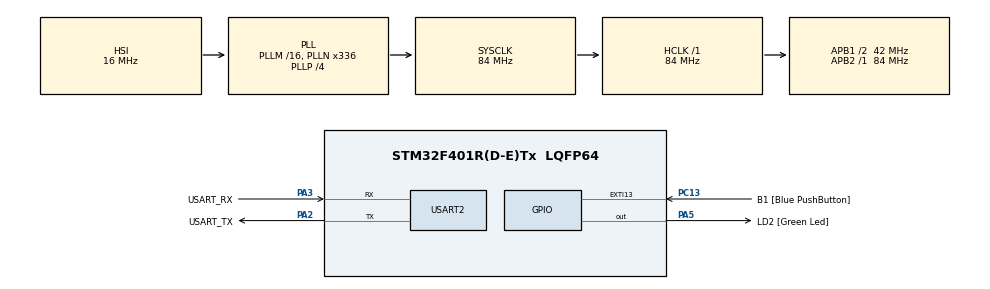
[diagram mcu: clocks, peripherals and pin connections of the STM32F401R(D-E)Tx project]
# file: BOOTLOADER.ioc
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Mcu.Family=STM32F4
Mcu.Name=STM32F401R(D-E)Tx
Mcu.Package=LQFP64
NVIC.EXTI15_10_IRQn=true\:0\:0\:false\:false\:true\:true\:true
NVIC.PriorityGroup=NVIC_PRIORITYGROUP_0
PA13.GPIO_Label=TMS
PA13.Mode=Serial_Wire
PA13.Signal=SYS_JTMS-SWDIO
PA14.GPIO_Label=TCK
PA14.Mode=Serial_Wire
PA14.Signal=SYS_JTCK-SWCLK
PA2.GPIO_Label=USART_TX
PA2.GPIO_Mode=GPIO_MODE_AF_PP
PA2.GPIO_PuPd=GPIO_NOPULL
PA2.GPIO_Speed=GPIO_SPEED_FREQ_LOW
PA2.Mode=Asynchronous
PA2.Signal=USART2_TX
PA3.GPIO_Label=USART_RX
PA3.GPIO_Mode=GPIO_MODE_AF_PP
PA3.GPIO_PuPd=GPIO_NOPULL
PA3.GPIO_Speed=GPIO_SPEED_FREQ_LOW
PA3.Mode=Asynchronous
PA3.Signal=USART2_RX
PA5.GPIO_Label=LD2 [Green Led]
PA5.GPIO_Mode=GPIO_MODE_OUTPUT_PP
PA5.GPIO_PuPd=GPIO_NOPULL
PA5.GPIO_Speed=GPIO_SPEED_FREQ_LOW
PA5.Signal=GPIO_Output
PB3.GPIO_Label=SWO
PB3.Signal=SYS_JTDO-SWO
PC13-ANTI_TAMP.GPIO_Label=B1 [Blue PushButton]
PC13-ANTI_TAMP.GPIO_ModeDefaultEXTI=GPIO_MODE_IT_FALLING
PC13-ANTI_TAMP.GPIO_PuPd=GPIO_PULLUP
PC13-ANTI_TAMP.Signal=GPXTI13
PC14-OSC32_IN.Mode=LSE-External-Oscillator
PC14-OSC32_IN.Signal=RCC_OSC32_IN
PC15-OSC32_OUT.Mode=LSE-External-Oscillator
PC15-OSC32_OUT.Signal=RCC_OSC32_OUT
PH0\ -\ OSC_IN.Mode=HSE-External-Clock-Source
PH0\ -\ OSC_IN.Signal=RCC_OSC_IN
PH1\ -\ OSC_OUT.Mode=HSE-External-Clock-Source
PH1\ -\ OSC_OUT.Signal=RCC_OSC_OUT
ProjectManager.HeapSize=0x200
ProjectManager.StackSize=0x400
ProjectManager.TargetToolchain=STM32CubeIDE
RCC.48MHZClocksFreq_Value=48000000
RCC.AHBFreq_Value=84000000
RCC.APB1CLKDivider=RCC_HCLK_DIV2
RCC.APB1Freq_Value=42000000
RCC.APB1TimFreq_Value=84000000
RCC.APB2Freq_Value=84000000
RCC.APB2TimFreq_Value=84000000
RCC.CortexFreq_Value=84000000
RCC.HCLKFreq_Value=84000000
RCC.HSE_VALUE=8000000
RCC.HSI_VALUE=16000000
RCC.PLLN=336
RCC.PLLP=RCC_PLLP_DIV4
RCC.PLLQ=7
RCC.SYSCLKFreq_VALUE=84000000
RCC.SYSCLKSource=RCC_SYSCLKSOURCE_PLLCLK
RCC.VCOOutputFreq_Value=336000000
USART2.VirtualMode=VM_ASYNC
board=NUCLEO-F401RE

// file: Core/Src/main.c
/* USER CODE BEGIN Header */
/**
  ******************************************************************************
  * @file           : main.c
  * @brief          : Main program body
  ******************************************************************************
  * @attention
  *
  * <h2><center>&copy; Copyright (c) 2021 STMicroelectronics.
  * All rights reserved.</center></h2>
  *
  * This software component is licensed by ST under BSD 3-Clause license,
  * the "License"; You may not use this file except in compliance with the
  * License. You may obtain a copy of the License at:
  *                        opensource.org/licenses/BSD-3-Clause
  *
  ******************************************************************************
  */
/* USER CODE END Header */
#include "main.h"

UART_HandleTypeDef huart2;

/* USER CODE BEGIN PV */

/*Прошивка, которую поместим на адрес: 0x0800C000
 * Данная прошивка представляет собой обычный светодиодный blink с периодом 250мс
 *
 */

const char data[][BUFFER_SIZE] = {":020000040800F2",
":10C00000008001203DC7000815C7000817C70008B9",
":10C0100019C700081BC700081DC700080000000062",
":10C020000000000000000000000000001FC7000822",
":10C0300021C700080000000023C7000825C700082A",
":10C040008DC700088DC700088DC700088DC7000880",
":10C050008DC700088DC700088DC700088DC7000870",
":10C060008DC700088DC700088DC700088DC7000860",
":10C070008DC700088DC700088DC700088DC7000850",
":10C080008DC700088DC700088DC70008000000009C",
":10C090000000000000000000000000008DC7000844",
":10C0A0008DC700088DC700088DC700088DC7000820",
":10C0B0008DC700088DC700088DC700088DC7000810",
":10C0C0008DC700088DC700088DC700088DC7000800",
":10C0D0008DC700088DC700088DC70008000000004C",
":10C0E0008DC700088DC700088DC70008000000003C",
":10C0F0000000000000000000000000008DC70008E4",
":10C10000000000008DC700088DC700088DC700081B",
":10C11000000000000000000000000000000000001F",
":10C120008DC700088DC700088DC700088DC700089F",
":10C130008DC70008000000000000000000000000A3",
":10C140000000000000000000000000008DC7000893",
":10C150008DC700088DC700088DC700088DC700086F",
":10C160008DC700088DC70008000000000000000017",
":10C1700000000000000000000000000000000000BF",
":10C18000000000008DC70008000000000000000053",
":04C190008DC700084F",
":10C1940010B5054C237833B9044B13B10448AFF3FD",
":10C1A40000800123237010BD0C000020000000005B",
":10C1B40054D1000808B5034B1BB103490348AFF33E",
":10C1C400008008BD000000001000002054D10008C9",
":10C1D40053B94AB9002908BF00281CBF4FF0FF31EA",
":10C1E4004FF0FF3000F06EB9ADF1080C6DE904CEEC",
":10C1F40000F006F8DDF804E0DDE9022304B070473E",
":10C204002DE9F047089D04468C46002B40F08380BE",
":10C214008A42174647D9B2FA82F242B1C2F12000EB",
":10C2240024FA00F09140974040EA010C94404FEA10",
":10C234001748230CBCFBF8F61FFA87FE08FB16C14F",
":10C2440043EA014306FB0EF1994209D9FB1806F1B2",
":10C25400FF3080F01981994240F21681023E3B443E",
":10C264005B1AA4B2B3FBF8F008FB103344EA0344AE",
":10C2740000FB0EFEA64509D93C1900F1FF3380F0FE",
":10C284000581A64540F2028102383C4440EA06405A",
":10C29400A4EB0E0400261DB1D4400023C5E90043DD",
":10C2A4003146BDE8F08702B9FFDEB2FA82F2002A15",
":10C2B40050D1CB1B4FEA174E1FFA87F80126B3FB68",
":10C2C400FEFC210C0EFB1C3341EA034108FB0CF37A",
":10C2D4008B4207D979180CF1FF3002D28B4200F25D",
":10C2E400E9808446C91AA3B2B1FBFEF00EFB10111B",
":10C2F40043EA014408FB00F8A04507D93C1900F1C2",
":10C30400FF3302D2A04500F2D9801846A4EB0804FA",
":10C3140040EA0C40BFE78B4209D9002D00F0B18000",
":10C324000026C5E9000130463146BDE8F087B3FA7E",
":10C3340083F6002E4AD18B4202D3824200F2B880A7",
":10C34400841A61EB030101208C46002DA8D0C5E9B5",
":10C35400004CA5E7C2F1200320FA03F6974001FA46",
":10C3640002F04FEA174ED9403043030CB1FBFEF6FE",
":10C374001FFA87F80EFB161143EA014306FB08F186",
":10C38400994204FA02F409D9FB1806F1FF3C80F043",
":10C394008D80994240F28A80023E3B445B1A81B20E",
":10C3A400B3FBFEF00EFB103341EA034100FB08F33C",
":10C3B4008B4207D9791800F1FF3C73D28B4271D9B3",
":10C3C40002383944CB1A40EA064678E7C6F1200C15",
":10C3D40003FA06F422FA0CF31C4320FA0CF701FAD0",
":10C3E40006F34FEA144E21FA0CF11F433B0CB1FB48",
":10C3F400FEF91FFA84F80EFB191143EA014109FB07",
":10C4040008FA8A4502FA06F200FA06F308D9611816",
":10C4140009F1FF3048D28A4546D9A9F102092144DD",
":10C42400A1EB0A01BFB2B1FBFEF00EFB101147EA0B",
":10C43400014700FB08F8B84507D9E71900F1FF31B7",
":10C444002ED2B8452CD90238274440EA0940A7EB3C",
":10C454000807A0FB02894F45C64649461AD317D0A0",
":10C464005DB1B3EB0E0267EB010707FA0CFCF24077",
":10C474004CEA0202F740C5E9002700263146BDE830",
":10C48400F0872E4628460BE70646E9E61846FDE601",
":10C494004345E5D2B8EB020E69EB04010138DFE74E",
":10C4A4000846D2E760468DE78146B9E7664675E7F8",
":10C4B40030464AE7ACF1020C394413E702383C44F5",
":10C4C40024E700BF704700BF10B594B014220021C8",
":10C4D40009A800F035FE1422002103A800F030FE64",
":10C4E4001F4B00220192196C41F0805119641B6C9E",
":10C4F4001C4903F080530193019B02920B6823F4BF",
":10C50400404343F400430B600B6803F4404302933D",
":10C51400029B012110234FF4A870CDE90B13109353",
":10C524000423CDE911030224072308A8CDE90E4210",
":10C534000894139300F0BEFA08B172B6FEE70F2315",
":10C54400CDE903344FF48053CDE9063005902146FC",
":10C5540003A800F089FC08B172B6FEE714B010BD60",
":10C56400003802400070004000B58BB072B6374B03",
":10C57400374A9A6062B600F02DF9FFF7A5FF14223E",
":10C5840000210DEB020000F0DBFD0024314B01948F",
":10C594001A6B314842F004021A631A6B02F0040267",
":10C5A4000192019A02941A6B42F080021A631A6B88",
":10C5B40002F080020292029A03941A6B42F0010282",
":10C5C4001A631A6B02F001020392039A04941A6B21",
":10C5D40042F002021A631B6B03F002030493224627",
":10C5E4002021049B00F058FA4FF400524FF4041336",
":10C5F4001A48079405A9CDE9052300F085F901231C",
":10C604002021CDE90513144805A9CDE9074400F01C",
":10C614007BF91348DFF84CC004614FF4E133C0E9FF",
":10C6240000C30C23C0E90244C0E90534C46100F02E",
":10C6340035FD40B9084C2046202100F032FAC820CC",
":10C6440000F0F4F8F7E772B6FEE700BF00ED00E093",
":10C6540000C0000800380240000002400008024008",
":10C66400280000200044004082B00D4B00210091BE",
":10C674005A6C42F480425A645A6C02F4804200922A",
":10C68400009A01911A6C42F080521A641B6C03F0F8",
":10C6940080530193019B072002B000F0DBB800BF78",
":10C6A4000038024010B5044688B01422002103A8C3",
":10C6B40000F046FD2268144B9A4222D103F5FA3366",
":10C6C40000220192196C114841F400311964196C6B",
":10C6D40001F40031019101990292196B41F00101B9",
":10C6E40019631B6B03F0010302930C21029B0223C9",
":10C6F400CDE90313072303A9CDE90522079300F02D",
":10C7040003F908B010BD00BF00440040000002401F",
":10C71400FEE7FEE7FEE7FEE7FEE770477047704777",
":10C7240000F072B8034AD2F8883043F47003C2F8B8",
":10C734008830704700ED00E0DFF834D00D480E4932",
":10C744000E4A002302E0D458C4500433C4188C4267",
":10C75400F9D30B4A0B4C002301E013600432A242CC",
":10C76400FBD3FFF7DFFF00F0C7FCFFF7FDFE7047C8",
":10C7740000800120000000200C00002094D100085B",
":10C784000C00002070000020FEE7000038B50E4ABF",
":10C794000E4B054618784FF47A73B3FBF0F3106828",
":10C7A400B0FBF3F000F09AF8044658B90F2D09D8FD",
":10C7B400024629464FF0FF3000F05EF8044B204655",
":10C7C4001D6038BD0120FCE70000002004000020AB",
":10C7D4000800002008B50B4B1A6842F400721A6076",
":10C7E4001A6842F480621A601A6842F480721A600D",
":10C7F400032000F02FF80020FFF7C8FFFFF734FFF5",
":10C80400002008BD003C0240034A044B11681B7819",
":10C814000B441360704700BF6C000020040000202C",
":10C82400014B1868704700BF6C00002038B50446FF",
":10C83400FFF7F6FF631C1CBF054B1B78054618BFAA",
":10C84400E418FFF7EDFF431BA342FAD338BD00BF42",
":10C85400040000200749CA6822F4E06203021204BB",
":10C8640003F4E063120C134343F0BF6343F4003357",
":10C87400CB60704700ED00E0164B30B5DC68C4F3C4",
":10C884000224C4F10705231D042D28BF0425062B0B",
":10C894004FF0FF338CBF033C002403FA05F521EA73",
":10C8A4000501A34022EA0302A140002841EA020351",
":10C8B400ACBF00F16040084A4FEA0313B8BF00F070",
":10C8C4000F00DBB2AABF00F56140135480F80033B7",
":10C8D40030BD00BF00ED00E014ED00E00138B0F120",
":10C8E400807F0AD2064B074A5860F02182F8231051",
":10C8F4000020072298601A6070470120704700BF2B",
":10C9040010E000E000ED00E02DE9F74FDFF884913E",
":10C914005E4A00230D6801249C4004EA050CAC43E4",
":10C9240040F0A5804D6805F003044FEA4308032650",
":10C93400671E06FA08F6012F6FEA060634D88768E0",
":10C9440007EA060ECF6807FA08F747EA0E0787607A",
":10C95400476827EA0C0EC5F300179F4047EA0E0705",
":10C964004760C76807EA060E8F6807FA08F747EAC0",
":10C974000E07022CC76019D14FEAD30A00EB8A0ACA",
":10C9840003F0070BDAF820704FEA8B0B4FF00F0E11",
":10C994000EFA0BFE27EA0E0E0F6907FA0BF747EAA9",
":10C9A4000E07CAF8207001E0032CDAD1076804FAF4",
":10C9B40008F43E40264315F4403F066057D04FF03C",
":10C9C400000ACDF804A0D9F84460314C46F48046FE",
":10C9D400C9F84460D9F8446006F480460196019E83",
":10C9E40023F0030606F1804606F59C3603F0030E99",
":10C9F400D6F808804FEA8E0E0F2707FA0EF7A042EA",
":10CA040028EA07073AD004F58064A04238D004F538",
":10CA14008064A04236D004F58064A04234D004F58A",
":10CA24008064A0420CBF0424072404FA0EF43C439F",
":10CA3400B46014686FEA0C06EF0354BF34404CEA48",
":10CA4400040414605468AF0354BF34404CEA040433",
":10CA540054609468EF0254BF34404CEA0404946078",
":10CA6400D468AD0254BF34404CEA0404D4600133AA",
":10CA7400102B7FF44FAF03B0BDE8F08F5446D4E7DA",
":10CA84000124D2E70224D0E70324CEE7003C01408E",
":10CA940000000240003802400AB181617047090475",
":10CAA400FBE7436901EA030221EA030141EA024187",
":10CAB400816170472DE9F341044640B30368DD0703",
":10CAC40010D4236898075ED423681A0700F1A08065",
":10CAD40023685B0700F1BE80A069002840F01F8135",
":10CAE40000202BE0A64B9A6802F00C02042A07D01F",
":10CAF4009A6802F00C02082A0BD15A68510208D530",
":10CB04009F4B1B689A03DCD56368002BD9D10120A5",
":10CB140014E06268B2F5803F13D11A6842F480329F",
":10CB24001A60FFF77DFE964E054633689B03C8D412",
":10CB3400FFF776FE401B6428F7D9032002B0BDE856",
":10CB4400F0818F4DB2F5A02F2B6807D143F48023D9",
":10CB54002B602B6843F480332B60E2E723F48033AB",
":10CB64002B602B6823F480232B60002AD9D1FFF794",
":10CB740057FE06462B689F03A3D5FFF751FE801B83",
":10CB84006428F7D9D9E77E4B9A6812F00C0F07D0C6",
":10CB94009A6802F00C02082A11D15B685E020ED476",
":10CBA400774B1A68950702D5E268012AAFD11A6853",
":10CBB400216922F0F80242EAC1021A6084E7E268BD",
":10CBC400704BB2B101221A60FFF72AFE6C4D064683",
":10CBD4002B68980707D52B68226923F0F80343EAEA",
":10CBE400C2032B6070E7FFF71BFE801B0228EFD9FE",
":10CBF400A3E71A60FFF714FE614E054633689907F0",
":10CC04007FF562AFFFF70CFE401B0228F6D994E7CC",
":10CC140062695D4B7AB101221A60FFF701FE584E3A",
":10CC24000546736F9F073FF553AFFFF7F9FD401BB0",
":10CC34000228F6D981E71A60FFF7F2FD504E054647",
":10CC4400736F98077FF544AFFFF7EAFD401B022896",
":10CC5400F6D972E74A4B1A6C12F0805228D101922D",
":10CC64001A6C42F080521A641B6C03F080530193D7",
":10CC7400019B0127454D2B68D9051BD5A368404D61",
":10CC8400012B27D12B6F43F001032B67FFF7C8FD5E",
":10CC94003B4E054641F28838336F9B0739D5002F48",
":10CCA4003FF41AAF364A136C23F08053136413E72E",
":10CCB4000027DFE72B6843F480732B60FFF7B0FD98",
":10CCC40006462B68DA05D9D4FFF7AAFD801B022893",
":10CCD400F7D932E7052B04D12B6F43F004032B67FC",
":10CCE400D0E72A6F22F001022A672A6F22F0040299",
":10CCF4002A67002BCAD1FFF793FD41F28838064614",
":10CD04002B6F9807CBD5FFF78BFD801B4045F7D9D8",
":10CD140013E7FFF785FD401B4045BDD90DE7184DCE",
":10CD2400AB6803F00C03082B47D0194E00230228EC",
":10CD3400336035D1FFF774FD07462B68990129D478",
":10CD4400D4E907321343626A43EA8213E26A43EA8C",
":10CD54000263A26A5208013A43EA02436B60012368",
":10CD64003360FFF75DFD064D04462B689A013FF5DD",
":10CD7400B7AEFFF755FD001B0228F6D9DDE600BF6C",
":10CD84000038024000004742800E474200700040D5",
":10CD940060004742FFF744FDC01B0228CDD9CCE612",
":10CDA400FFF73EFD04462B689B017FF599AEFFF724",
":10CDB40037FD001B0228F6D9BFE601283FF4BEAEBA",
":10CDC4006B68E26903F4800191427FF4A0AE216AAA",
":10CDD40003F03F028A427FF49AAE616A47F6C0725A",
":10CDE4001A40B2EB811F7FF492AEA26A520803F498",
":10CDF4004031013AB1EB024F7FF489AEE26A03F0AD",
":10CE04007063B3EB026F3FF46BAE80E6134908B571",
":10CE14008B6803F00C03042B1CD0082B1CD14A682C",
":10CE24004B68496813F4800314BF0D480D48C1F3DF",
":10CE3400881118BF002302F03F02A1FB0001FFF795",
":10CE4400C7F9064B5B68C3F3014301335B00B0FBD6",
":10CE5400F3F008BD0248FCE70248FAE70038024054",
":10CE640000127A000024F4002DE9F0410D46044636",
":10CE740010B90120BDE8F081444B1A6802F00702A2",
":10CE84008A4228D3226897072DD4D00741D43F4B38",
":10CE94001A6802F00702AA4266D8226851076CD4C5",
":10CEA400130707D53A4A2169936823F4604343EA98",
":10CEB400C1039360FFF7AAFF354B364A9B68C3F35F",
":10CEC4000313D35CD840344B1860344B1868FFF715",
":10CED4005DFC0020CEE7CAB21A701B6803F007039A",
":10CEE4008B42C6D1CEE72A4B12F0040F1EBF9968BD",
":10CEF40041F4E0519960160742BF996841F46041DA",
":10CF040099602349A0688B6823F0F00303438B6086",
":10CF1400BBE762681E4B012A1CD11B6813F4003F57",
":10CF2400A7D01B4EB36823F003031343B360FFF78A",
":10CF340077FC41F288380746B368626803F00C0353",
":10CF4400B3EB820FA3D0FFF76BFCC01B4045F3D9B2",
":10CF540003208FE7911E01291B6802D813F0007F7C",
":10CF6400DEE713F0020FDBE7EAB21A701B6803F086",
":10CF74000703AB427FF47DAF8FE70549E0688B6818",
":10CF840023F4E05303438B608AE700BF003C024074",
":10CF9400003802406CD10008000000200800002086",
":10CFA400044B054A9B68C3F38223D35C034A10688D",
":10CFB400D8407047003802407CD1000800000020AF",
":10CFC400044B054A9B68C3F34233D35C034A10689D",
":10CFD400D8407047003802407CD10008000000208F",
":10CFE4000268C16838B5136923F440530B431361D5",
":10CFF400054683680069D168034368690343E869A7",
":10D0040021F4164121F00C0103430B43D36053690F",
":10D01400A96923F440730B4353611F4B9A4203D015",
":10D0240003F580639A4224D1FFF7CAFFEA69192302",
":10D03400B2F5004FA0FB0301D5E900431CD11A4609",
":10D0440092184FF000035B41FFF7C2F86421B0FB74",
":10D05400F1F501FB1503DB003233B3FBF1F303F00D",
":10D0640007025B0002EB051203F4F8731344A36098",
":10D0740038BDFFF795FFD9E79A009B0FFFF7A8F893",
":10D084006422B0FBF2F102FB11031B013233B3FB48",
":10D09400F2F303EB0113EAE70010014010B5044674",
":10D0A40040B390F83D3003F0FF021BB980F83C20F8",
":10D0B400FFF7F8FA2268242384F83D30D36823F478",
":10D0C4000053D3602046FFF78BFF23681A6922F4CC",
":10D0D40090421A615A6922F02A025A61DA6842F4CB",
":10D0E4000052DA6000202023206484F83D3084F864",
":10D0F4003E3010BD0120FCE770B50D4D0D4C641B96",
":10D10400A4100026A64209D10B4D0C4C00F020F8C7",
":10D11400641BA4100026A64205D170BD55F8043B3B",
":10D1240098470136EEE755F8043B98470136F2E795",
":10D134008CD100088CD100088CD1000890D1000853",
":10D1440002440346934200D1704703F8011BF9E7F8",
":10D15400F8B500BFF8BC08BC9E467047F8B500BFE0",
":08D16400F8BC08BC9E467047B0",
":10D16C00000000000000000001020304060708098B",
":08D17C000000000001020304A1",
":08D1840080F0FF7F01000000B4",
":04D18C00B9C100081D",
":04D1900095C100083D",
":0CD194000024F400010000001000000066",
":040000050800C73DEB",
":00000001FF"};

volatile uint32_t address = 0x00000000;
uint8_t dataBuffer[BUFFER_SIZE] = {0};

volatile uint8_t menuItem = 0;
volatile _Bool interruptFlag = 0;

/* USER CODE END PV */

void SystemClock_Config(void);
static void MX_GPIO_Init(void);
static void MX_USART2_UART_Init(void);

int main(void)
{

  /* MCU Configuration--------------------------------------------------------*/

  /* Reset of all peripherals, Initializes the Flash interface and the Systick. */
  HAL_Init();

  /* Configure the system clock */
  SystemClock_Config();

  /* Initialize all configured peripherals */
  MX_GPIO_Init();
  MX_USART2_UART_Init();

  /* Infinite loop */
  /* USER CODE BEGIN WHILE */
  while (1)
  {
	  if (interruptFlag == 1 && menuItem == 1) {
		  interruptFlag = 0;
		  for(uint8_t i = 0;i<6;i++) {
			  HAL_GPIO_TogglePin(LD2_GPIO_Port, LD2_Pin);
			  HAL_Delay(500);
		  }
		  programFlash(FLASH_SECTOR_3, data, (sizeof data / sizeof *data));
	  }
	  if (interruptFlag == 1 && menuItem == 2) {
	  		  interruptFlag = 0;
	  		  for(uint8_t i = 0;i<10;i++) {
	  			  HAL_GPIO_TogglePin(LD2_GPIO_Port, LD2_Pin);
	  			  HAL_Delay(300);
	  		  }
	  		  HAL_Delay(5000);
	  		startApplicationByAddress(APP_START_ADDRESS);
	  	  }
    /* USER CODE END WHILE */

  }
}

void SystemClock_Config(void)
{
  RCC_OscInitTypeDef RCC_OscInitStruct = {0};
  RCC_ClkInitTypeDef RCC_ClkInitStruct = {0};

  /** Configure the main internal regulator output voltage
  */
  __HAL_RCC_PWR_CLK_ENABLE();
  __HAL_PWR_VOLTAGESCALING_CONFIG(PWR_REGULATOR_VOLTAGE_SCALE2);
  /** Initializes the RCC Oscillators according to the specified parameters
  * in the RCC_OscInitTypeDef structure.
  */
  RCC_OscInitStruct.OscillatorType = RCC_OSCILLATORTYPE_HSI;
  RCC_OscInitStruct.HSIState = RCC_HSI_ON;
  RCC_OscInitStruct.HSICalibrationValue = RCC_HSICALIBRATION_DEFAULT;
  RCC_OscInitStruct.PLL.PLLState = RCC_PLL_ON;
  RCC_OscInitStruct.PLL.PLLSource = RCC_PLLSOURCE_HSI;
  RCC_OscInitStruct.PLL.PLLM = 16;
  RCC_OscInitStruct.PLL.PLLN = 336;
  RCC_OscInitStruct.PLL.PLLP = RCC_PLLP_DIV4;
  RCC_OscInitStruct.PLL.PLLQ = 7;
  if (HAL_RCC_OscConfig(&RCC_OscInitStruct) != HAL_OK)
  {
    Error_Handler();
  }
  /** Initializes the CPU, AHB and APB buses clocks
  */
  RCC_ClkInitStruct.ClockType = RCC_CLOCKTYPE_HCLK|RCC_CLOCKTYPE_SYSCLK
                              |RCC_CLOCKTYPE_PCLK1|RCC_CLOCKTYPE_PCLK2;
  RCC_ClkInitStruct.SYSCLKSource = RCC_SYSCLKSOURCE_PLLCLK;
  RCC_ClkInitStruct.AHBCLKDivider = RCC_SYSCLK_DIV1;
  RCC_ClkInitStruct.APB1CLKDivider = RCC_HCLK_DIV2;
  RCC_ClkInitStruct.APB2CLKDivider = RCC_HCLK_DIV1;

  if (HAL_RCC_ClockConfig(&RCC_ClkInitStruct, FLASH_LATENCY_2) != HAL_OK)
  {
    Error_Handler();
  }
}

static void MX_USART2_UART_Init(void)
{

  huart2.Instance = USART2;
  huart2.Init.BaudRate = 115200;
  huart2.Init.WordLength = UART_WORDLENGTH_8B;
  huart2.Init.StopBits = UART_STOPBITS_1;
  huart2.Init.Parity = UART_PARITY_NONE;
  huart2.Init.Mode = UART_MODE_TX_RX;
  huart2.Init.HwFlowCtl = UART_HWCONTROL_NONE;
  huart2.Init.OverSampling = UART_OVERSAMPLING_16;
  if (HAL_UART_Init(&huart2) != HAL_OK)
  {
    Error_Handler();
  }

}

static void MX_GPIO_Init(void)
{
  GPIO_InitTypeDef GPIO_InitStruct = {0};

  /* GPIO Ports Clock Enable */
  __HAL_RCC_GPIOC_CLK_ENABLE();
  __HAL_RCC_GPIOH_CLK_ENABLE();
  __HAL_RCC_GPIOA_CLK_ENABLE();
  __HAL_RCC_GPIOB_CLK_ENABLE();

  /*Configure GPIO pin Output Level */
  HAL_GPIO_WritePin(LD2_GPIO_Port, LD2_Pin, GPIO_PIN_RESET);

  /*Configure GPIO pin : B1_Pin */
  GPIO_InitStruct.Pin = B1_Pin;
  GPIO_InitStruct.Mode = GPIO_MODE_IT_FALLING;
  GPIO_InitStruct.Pull = GPIO_PULLUP;
  HAL_GPIO_Init(B1_GPIO_Port, &GPIO_InitStruct);

  /*Configure GPIO pin : LD2_Pin */
  GPIO_InitStruct.Pin = LD2_Pin;
  GPIO_InitStruct.Mode = GPIO_MODE_OUTPUT_PP;
  GPIO_InitStruct.Pull = GPIO_NOPULL;
  GPIO_InitStruct.Speed = GPIO_SPEED_FREQ_LOW;
  HAL_GPIO_Init(LD2_GPIO_Port, &GPIO_InitStruct);

  /* EXTI interrupt init*/
  HAL_NVIC_SetPriority(EXTI15_10_IRQn, 0, 0);
  HAL_NVIC_EnableIRQ(EXTI15_10_IRQn);

}

/* USER CODE BEGIN 4 */
/*функция преобразует ascii в hex*/

void HAL_GPIO_EXTI_Callback(uint16_t GPIO_Pin) {
	if (GPIO_Pin == GPIO_PIN_13) {
		interruptFlag = 1;
		menuItem++;
		if (menuItem == 3) {
			menuItem = 0;
		}

	} else __NOP();
	}

/* USER CODE END 4 */

void Error_Handler(void)
{
  /* USER CODE BEGIN Error_Handler_Debug */
  /* User can add his own implementation to report the HAL error return state */
  __disable_irq();
  while (1)
  {
	  for(uint8_t i = 0;i<6;i++) {
		  HAL_GPIO_TogglePin(LD2_GPIO_Port, LD2_Pin);
		  HAL_Delay(250);
	  }
	  HAL_Delay(500);
  }
  /* USER CODE END Error_Handler_Debug */
}

/************************ (C) COPYRIGHT STMicroelectronics *****END OF FILE****/
